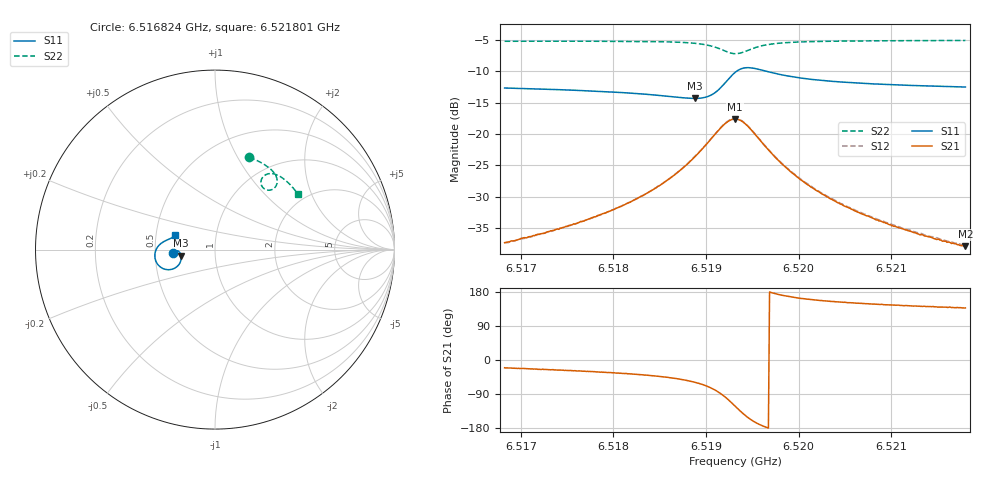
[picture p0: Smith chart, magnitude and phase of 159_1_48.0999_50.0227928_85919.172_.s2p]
#  HZ  S  RI  R  50.00
! Rohde & Schwarz Vector Network Analyzer
! Rohde-Schwarz,ZNB20-2Port,1311601062101988,3.16
! Created: UTC 12/23/2023, 3:50:33 AM
! freq[Hz]  re:S11  im:S11  re:S21  im:S21  re:S12  im:S12  re:S22  im:S22
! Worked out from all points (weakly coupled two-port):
!   401 points, 6.516824 GHz to 6.521801 GHz, reference 50 ohm
!   highest |S21| = -17.61 dB at 6.519312 GHz (marker M1); lowest = -37.9 dB at 6.521801 GHz (marker M2)
!   lowest |S11| = -14.3 dB at 6.518877 GHz (marker M3), VSWR 1.48, Z = 34 - j2.43 ohm
!   |S11| at or under -10 dB: start of sweep to 6.51933 GHz; 6.51965 GHz to end of sweep
!   |S22| runs from -7.2 to -5.1 dB; largest |S21 - S12| = 0.004
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6.516824e9  -0.2314 -0.0204  0.0127 -0.00476  0.0128 -0.0044  0.1908 0.5136
6.517247e9  -0.2271 -0.014  0.0147 -0.00682  0.0148 -0.00629  0.222 0.5015
6.5176576e9  -0.2216 -0.00892  0.0175 -0.00976  0.0177 -0.00928  0.2526 0.4869
6.5181055e9  -0.2134 -0.006  0.0221 -0.0157  0.0225 -0.0149  0.286 0.4668
6.5184912e9  -0.2026 -0.00973  0.028 -0.0264  0.029 -0.0256  0.3159 0.443
6.5186903e9  -0.1955 -0.0178  0.032 -0.0374  0.0333 -0.0365  0.3313 0.4253
6.5188769e9  -0.1889 -0.0344  0.0341 -0.056  0.0361 -0.0553  0.3436 0.401
6.5189889e9  -0.1886 -0.0528  0.0313 -0.0741  0.0336 -0.0735  0.3467 0.3805
6.519076e9  -0.195 -0.0734  0.0221 -0.0927  0.0251 -0.0927  0.3427 0.3605
6.5192128e9  -0.2355 -0.1081  -0.0192 -0.1207  -0.0159 -0.1222  0.3121 0.3327
6.5193124e9  -0.2907 -0.1051  -0.0688 -0.1124  -0.066 -0.115  0.2744 0.3387
6.5193622e9  -0.3149 -0.0873  -0.0884 -0.0943  -0.0863 -0.0975  0.2611 0.3539
6.5194244e9  -0.332 -0.0572  -0.1004 -0.0663  -0.0992 -0.0697  0.2558 0.377
6.5195363e9  -0.3313 -0.0088  -0.0947 -0.0251  -0.0947 -0.0281  0.27 0.4081
6.5196483e9  -0.3158 0.0197  -0.0782 -0.00342  -0.0789 -0.00579  0.2924 0.4212
6.5198847e9  -0.2864 0.0439  -0.0511 0.0111  -0.052 0.00966  0.331 0.4211
6.520146e9  -0.2666 0.0534  -0.0349 0.0133  -0.0357 0.0125  0.3597 0.409
6.5203575e9  -0.2565 0.0579  -0.0272 0.013  -0.0279 0.0123  0.3777 0.3975
6.5205442e9  -0.2496 0.061  -0.0226 0.0123  -0.0232 0.012  0.3915 0.3868
6.5209796e9  -0.2381 0.0674  -0.0155 0.0108  -0.0162 0.0105  0.419 0.3613
6.5214773e9  -0.2284 0.0743  -0.0112 0.00929  -0.0117 0.00913  0.4456 0.3312
6.5218008e9  -0.2231 0.0789  -0.00938 0.00864  -0.00973 0.00852  0.461 0.3111
